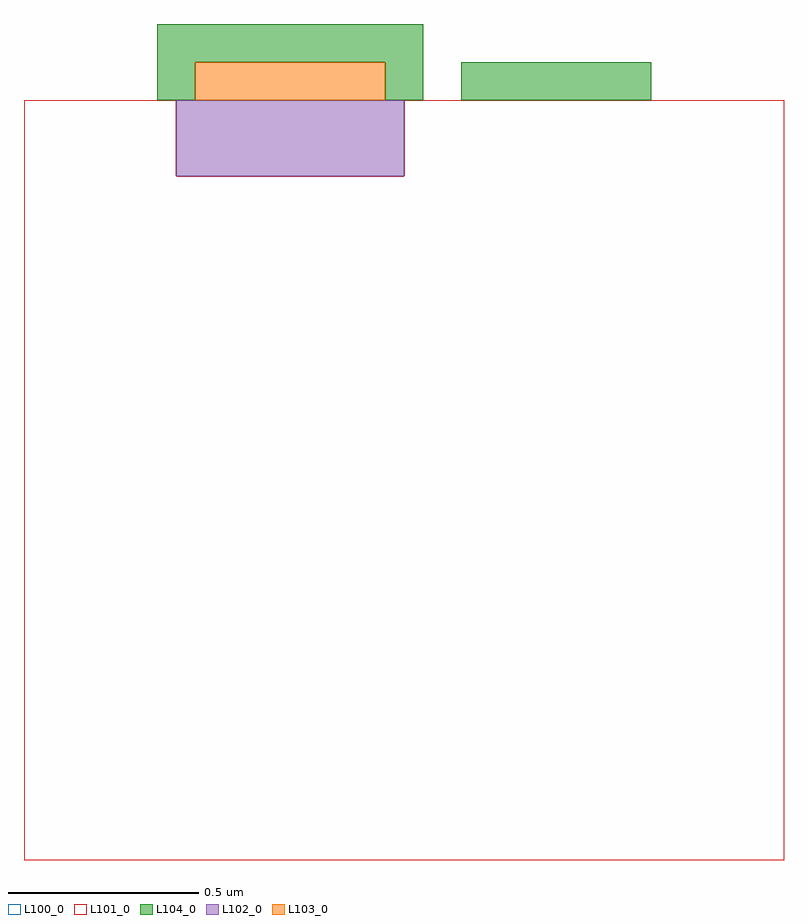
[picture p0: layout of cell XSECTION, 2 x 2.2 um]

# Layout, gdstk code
import gdstk
lib = gdstk.Library(unit=1e-6, precision=1e-09)
def R(c, l, rs):  # rectangles x0, y0, x1, y1
    for r in rs: c.add(gdstk.rectangle(r[:2], r[2:], *l))
def P(c, l, *ps):  # polygons
    for p in ps: c.add(gdstk.Polygon(p, *l))
L100_0 = (100, 0)
L101_0 = (101, 0)
L102_0 = (102, 0)
L103_0 = (103, 0)
L104_0 = (104, 0)

xsection = lib.new_cell('XSECTION')
R(xsection, L100_0, [(0,-2,2,0)])
P(xsection, L101_0, [(0,-2),(0,0),(0.4,0),(0.4,-0.2),(1,-0.2),(1,0),(2,0),(2,-2)])
R(xsection, L102_0, [(0.4,-0.2,1,0)])
R(xsection, L103_0, [(0.45,0,0.95,0.1)])
R(xsection, L104_0, [(1.15,0,1.65,0.1)])
P(xsection, L104_0, [(0.35,0),(0.35,0.2),(1.05,0.2),(1.05,0),(0.95,0),(0.95,0.1),(0.45,0.1),(0.45,0)])

lib.write_gds('XSECTION.gds')
